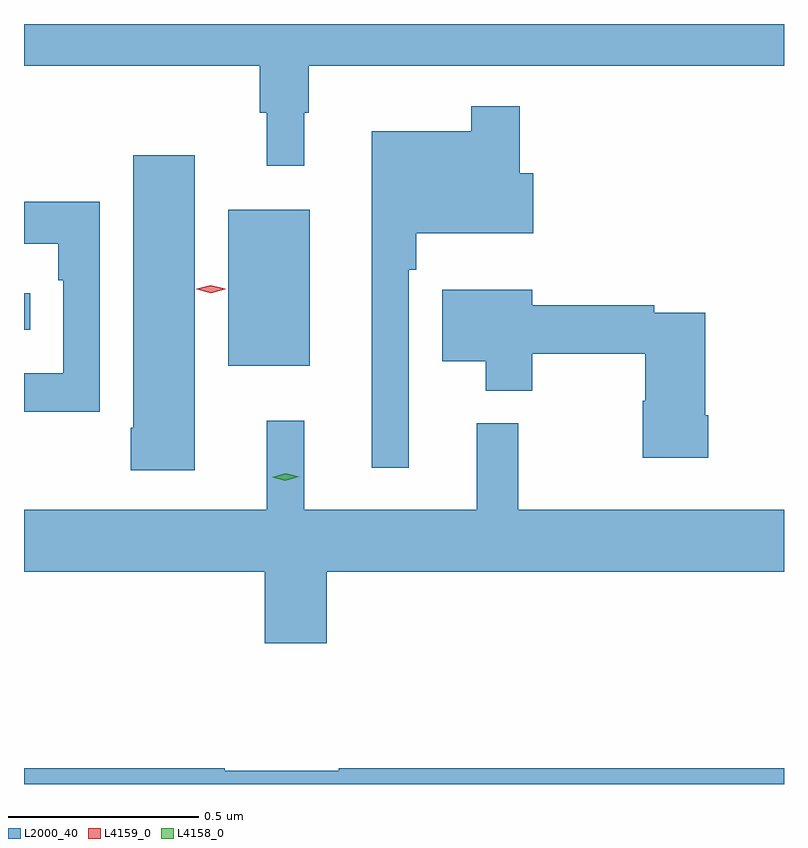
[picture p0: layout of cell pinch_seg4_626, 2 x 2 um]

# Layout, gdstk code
import gdstk
lib = gdstk.Library(unit=1e-6, precision=1e-09)
def R(c, l, rs):  # rectangles x0, y0, x1, y1
    for r in rs: c.add(gdstk.rectangle(r[:2], r[2:], *l))
def P(c, l, *ps):  # polygons
    for p in ps: c.add(gdstk.Polygon(p, *l))
L2000_40 = (2000, 40)
L4158_0 = (4158, 0)
L4159_0 = (4159, 0)

pinch_seg4_626 = lib.new_cell('pinch_seg4_626')
R(pinch_seg4_626, L2000_40, [(1028.048,766.727,1028.263,767.137), (1027.511,766.821,1027.528,766.917)])
P(pinch_seg4_626, L2000_40, [(1028.248,767.393),(1028.26,767.393),(1028.26,767.516),(1029.511,767.516),(1029.511,767.626),(1027.511,767.626),(1027.511,767.516),(1028.131,767.516),(1028.131,767.393),(1028.15,767.393),(1028.15,767.253),(1028.248,767.253)],
  [(1028.523,766.979),(1028.543,766.979),(1028.543,767.075),(1028.851,767.075),(1028.851,767.233),(1028.816,767.233),(1028.816,767.41),(1028.688,767.41),(1028.688,767.344),(1028.426,767.344),(1028.426,766.458),(1028.523,766.458)],
  [(1027.96,767.281),(1027.799,767.281),(1027.799,766.564),(1027.792,766.564),(1027.792,766.452),(1027.96,766.452)],
  [(1027.71,767.158),(1027.511,767.158),(1027.511,767.048),(1027.601,767.048),(1027.601,766.952),(1027.614,766.952),(1027.614,766.707),(1027.511,766.707),(1027.511,766.606),(1027.71,766.606)],
  [(1029.312,766.597),(1029.304,766.597),(1029.304,766.866),(1029.17,766.866),(1029.17,766.886),(1028.848,766.886),(1028.848,766.927),(1028.612,766.927),(1028.612,766.739),(1028.726,766.739),(1028.726,766.661),(1028.848,766.661),(1028.848,766.758),(1029.146,766.758),(1029.146,766.635),(1029.139,766.635),(1029.139,766.485),(1029.312,766.485)],
  [(1028.308,766.184),(1029.511,766.184),(1029.511,766.348),(1028.812,766.348),(1028.812,766.576),(1028.702,766.576),(1028.702,766.348),(1028.249,766.348),(1028.249,766.582),(1028.15,766.582),(1028.15,766.348),(1027.511,766.348),(1027.511,766.184),(1028.144,766.184),(1028.144,765.996),(1028.308,765.996)],
  [(1029.511,765.668),(1028.339,765.668),(1028.339,765.661),(1028.039,765.661),(1028.039,765.668),(1027.511,765.668),(1027.511,765.626),(1029.511,765.626)])
P(pinch_seg4_626, L4158_0, [(1028.199,766.424),(1028.164,766.433),(1028.163,766.433),(1028.164,766.433),(1028.199,766.444),(1028.235,766.435),(1028.235,766.435),(1028.235,766.435)])
P(pinch_seg4_626, L4159_0, [(1028.003,766.918),(1027.965,766.928),(1027.964,766.928),(1027.965,766.929),(1028.003,766.938),(1028.041,766.929),(1028.041,766.928),(1028.041,766.928)])

lib.write_gds('pinch_seg4_626.gds')
